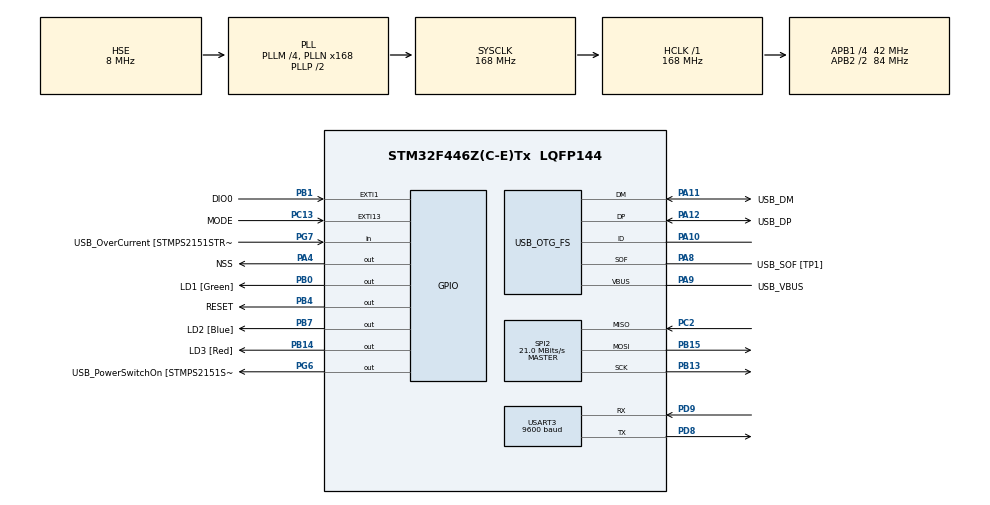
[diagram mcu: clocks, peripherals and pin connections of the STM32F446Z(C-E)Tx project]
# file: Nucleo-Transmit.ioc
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Mcu.Family=STM32F4
Mcu.Name=STM32F446Z(C-E)Tx
Mcu.Package=LQFP144
NVIC.EXTI15_10_IRQn=true\:0\:0\:false\:false\:true\:true\:true\:true
NVIC.EXTI1_IRQn=true\:0\:0\:false\:false\:true\:true\:true\:true
NVIC.PriorityGroup=NVIC_PRIORITYGROUP_4
PA10.Mode=OTG/Dual_Role_Device
PA10.Signal=USB_OTG_FS_ID
PA11.GPIO_Label=USB_DM
PA11.Mode=OTG/Dual_Role_Device
PA11.Signal=USB_OTG_FS_DM
PA12.GPIO_Label=USB_DP
PA12.Mode=OTG/Dual_Role_Device
PA12.Signal=USB_OTG_FS_DP
PA13.GPIO_Label=TMS
PA13.Mode=Serial_Wire
PA13.Signal=SYS_JTMS-SWDIO
PA14.GPIO_Label=TCK
PA14.Mode=Serial_Wire
PA14.Signal=SYS_JTCK-SWCLK
PA4.GPIO_Label=NSS
PA4.PinState=GPIO_PIN_SET
PA4.Signal=GPIO_Output
PA8.GPIO_Label=USB_SOF [TP1]
PA8.Mode=Activate_SOF_FS
PA8.Signal=USB_OTG_FS_SOF
PA9.GPIO_Label=USB_VBUS
PA9.Mode=Activate_VBUS
PA9.Signal=USB_OTG_FS_VBUS
PB0.GPIO_Label=LD1 [Green]
PB0.PinState=GPIO_PIN_RESET
PB0.Signal=GPIO_Output
PB1.GPIO_Label=DIO0
PB1.Signal=GPXTI1
PB13.Mode=Full_Duplex_Master
PB13.Signal=SPI2_SCK
PB14.GPIO_Label=LD3 [Red]
PB14.Signal=GPIO_Output
PB15.Mode=Full_Duplex_Master
PB15.Signal=SPI2_MOSI
PB4.GPIO_Label=RESET
PB4.PinState=GPIO_PIN_SET
PB4.Signal=GPIO_Output
PB7.GPIO_Label=LD2 [Blue]
PB7.Signal=GPIO_Output
PC13.GPIO_Label=MODE
PC13.Signal=GPXTI13
PC14-OSC32_IN.Signal=RCC_OSC32_IN
PC15-OSC32_OUT.Signal=RCC_OSC32_OUT
PC2.Mode=Full_Duplex_Master
PC2.Signal=SPI2_MISO
PD8.Mode=Asynchronous
PD8.Signal=USART3_TX
PD9.Mode=Asynchronous
PD9.Signal=USART3_RX
PG6.GPIO_Label=USB_PowerSwitchOn [STMPS2151STR_EN]
PG6.Signal=GPIO_Output
PG7.GPIO_Label=USB_OverCurrent [STMPS2151STR_FAULT]
PG7.Signal=GPIO_Input
PH0-OSC_IN.GPIO_Label=MCO [STM32F103CBT6_PA8]
PH0-OSC_IN.Mode=HSE-External-Oscillator
PH0-OSC_IN.Signal=RCC_OSC_IN
PH1-OSC_OUT.Mode=HSE-External-Oscillator
PH1-OSC_OUT.Signal=RCC_OSC_OUT
ProjectManager.HeapSize=0x200
ProjectManager.StackSize=0x400
ProjectManager.TargetToolchain=STM32CubeIDE
RCC.48MHZClocksFreq_Value=24000000
RCC.AHBFreq_Value=168000000
RCC.APB1CLKDivider=RCC_HCLK_DIV4
RCC.APB1Freq_Value=42000000
RCC.APB1TimFreq_Value=84000000
RCC.APB2CLKDivider=RCC_HCLK_DIV2
RCC.APB2Freq_Value=84000000
RCC.APB2TimFreq_Value=168000000
RCC.CortexFreq_Value=168000000
RCC.HCLKFreq_Value=168000000
RCC.HSE_VALUE=8000000
RCC.HSI_VALUE=16000000
RCC.PLLM=4
RCC.PLLMUL=RCC_PLL_MUL9
RCC.PLLN=168
RCC.PLLQ=7
RCC.PRESCALERUSB=RCC_USBCLKSOURCE_PLL_DIV1_5
RCC.SYSCLKFreq_VALUE=168000000
RCC.SYSCLKSource=RCC_SYSCLKSOURCE_PLLCLK
RCC.SYSCLKSourceVirtual=RCC_SYSCLKSOURCE_PLLCLK
RCC.USBFreq_Value=48000000
RCC.VCOOutputFreq_Value=336000000
SPI2.BaudRatePrescaler=SPI_BAUDRATEPRESCALER_2
SPI2.CalculateBaudRate=21.0 MBits/s
SPI2.Direction=SPI_DIRECTION_2LINES
SPI2.Mode=SPI_MODE_MASTER
SPI2.VirtualType=VM_MASTER
USART3.BaudRate=9600
USART3.VirtualMode=VM_ASYNC
VP_RTC_VS_RTC_Activate.Mode=RTC_Enabled
board=NUCLEO-F446ZE

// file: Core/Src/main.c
/* USER CODE BEGIN Header */
	/**
	  ******************************************************************************
	  * @file           : main.c
	  * @brief          : Main program body
	  ******************************************************************************
	  * @attention
	  *
	  * Copyright (c) 2025 STMicroelectronics.
	  * All rights reserved.
	  *
	  * This software is licensed under terms that can be found in the LICENSE file
	  * in the root directory of this software component.
	  * If no LICENSE file comes with this software, it is provided AS-IS.
	  *
	  ******************************************************************************
	  */
/* USER CODE END Header */
#include "main.h"
#include "rtc.h"
#include "spi.h"
#include "usart.h"
#include "usb_otg.h"
#include "gpio.h"

/* USER CODE BEGIN Includes */
#include <stdlib.h>
#include <stdio.h>
#include "SX1278.h"
#include <string.h>
/* USER CODE END Includes */

/* USER CODE BEGIN PTD */
//	#define BKP_COUNTER_REGISTER RTC_BKP_DR0
/* USER CODE END PTD */

/* USER CODE BEGIN PV */
	int message;

/* USER CODE END PV */

void SystemClock_Config(void);
/* USER CODE BEGIN PFP */

	int _write(int file, char *ptr, int len) {
		for (int idx = 0; idx < len; idx++) {
				while(!(USART3 -> SR & USART_SR_TXE));
				USART3->DR = (uint8_t)ptr[idx];
		}
		return len;
	}

	RTC_TimeTypeDef sTime;
	RTC_DateTypeDef sDate;

	void get_timestamp_string(char *timestamp_str, uint32_t max_len)
	{
	  // Get current time and date from RTC
	  HAL_RTC_GetTime(&hrtc, &sTime, RTC_FORMAT_BIN);
	  HAL_RTC_GetDate(&hrtc, &sDate, RTC_FORMAT_BIN); // This is necessary after HAL_RTC_GetTime

	  // Format the timestamp string as "YYYY-MM-DD HH:MM:SS"
	  snprintf(timestamp_str, max_len, "%02d:%02d:%02d",
			   sTime.Hours, sTime.Minutes, sTime.Seconds);
	}
/* USER CODE END PFP */

/* USER CODE BEGIN 0 */
	SX1278_hw_t SX1278_hw;
	SX1278_t SX1278;

	int master;
	int ret;

	char buffer[512];
	int message_length;
/* USER CODE END 0 */

int main(void)
{

  /* MCU Configuration--------------------------------------------------------*/

  /* Reset of all peripherals, Initializes the Flash interface and the Systick. */
  HAL_Init();

  /* Configure the system clock */
  SystemClock_Config();

  /* Initialize all configured peripherals */
  MX_GPIO_Init();
  MX_USART3_UART_Init();
  MX_USB_OTG_FS_USB_Init();
  MX_SPI2_Init();
  MX_RTC_Init();
  /* USER CODE BEGIN 2 */

		//initialize LoRa module
		SX1278_hw.dio0.port = DIO0_GPIO_Port;
		SX1278_hw.dio0.pin = DIO0_Pin;
		SX1278_hw.nss.port = NSS_GPIO_Port;
		SX1278_hw.nss.pin = NSS_Pin;
		SX1278_hw.reset.port = RESET_GPIO_Port;
		SX1278_hw.reset.pin = RESET_Pin;
		SX1278_hw.spi = &hspi2;

		SX1278.hw = &SX1278_hw;

		printf("Configuring LoRa module\r\n");
		SX1278_hw_Reset(SX1278.hw);
		HAL_Delay(10);
		SX1278_init(&SX1278, 433000000, SX1278_POWER_17DBM, SX1278_LORA_SF_9,
		SX1278_LORA_BW_125KHZ, SX1278_LORA_CR_4_5, SX1278_LORA_CRC_EN, 250);
		printf("Done configuring LoRaModule\r\n");

  /* USER CODE END 2 */

  /* Infinite loop */
	  while (1)
	  {

    /* USER CODE BEGIN 3 */
					char timestamp[24]; // Buffer for timestamp string
					  SX1278_read(&SX1278, (uint8_t*) buffer, ret);
					  printf("%s\r\n", buffer);
					  HAL_Delay(1000);

					message_length = sprintf(buffer, "Hello from Transmitter %d"
							, message);
					get_timestamp_string(timestamp, sizeof(timestamp));
					printf("%-8s \r\n", timestamp);
					printf("Sending %s\r\n", buffer);
					ret = SX1278_LoRaEntryTx(&SX1278, message_length, 2000);
					printf("Entry: %d\r\n", ret);
					ret = SX1278_LoRaTxPacket(&SX1278, (uint8_t*) buffer,
							message_length, 2000);
					message += 1;
					printf("Transmission: %d\r\n", ret);

					HAL_Delay(500);
			}
  /* USER CODE END 3 */
}

void SystemClock_Config(void)
{
  RCC_OscInitTypeDef RCC_OscInitStruct = {0};
  RCC_ClkInitTypeDef RCC_ClkInitStruct = {0};

  /** Configure the main internal regulator output voltage
  */
  __HAL_RCC_PWR_CLK_ENABLE();
  __HAL_PWR_VOLTAGESCALING_CONFIG(PWR_REGULATOR_VOLTAGE_SCALE1);

  /** Initializes the RCC Oscillators according to the specified parameters
  * in the RCC_OscInitTypeDef structure.
  */
  RCC_OscInitStruct.OscillatorType = RCC_OSCILLATORTYPE_LSI|RCC_OSCILLATORTYPE_HSE;
  RCC_OscInitStruct.HSEState = RCC_HSE_ON;
  RCC_OscInitStruct.LSEState = RCC_LSE_OFF;
  RCC_OscInitStruct.LSIState = RCC_LSI_ON;
  RCC_OscInitStruct.PLL.PLLState = RCC_PLL_ON;
  RCC_OscInitStruct.PLL.PLLSource = RCC_PLLSOURCE_HSE;
  RCC_OscInitStruct.PLL.PLLM = 4;
  RCC_OscInitStruct.PLL.PLLN = 168;
  RCC_OscInitStruct.PLL.PLLP = RCC_PLLP_DIV2;
  RCC_OscInitStruct.PLL.PLLQ = 7;
  RCC_OscInitStruct.PLL.PLLR = 2;
  if (HAL_RCC_OscConfig(&RCC_OscInitStruct) != HAL_OK)
  {
    Error_Handler();
  }

  /** Initializes the CPU, AHB and APB buses clocks
  */
  RCC_ClkInitStruct.ClockType = RCC_CLOCKTYPE_HCLK|RCC_CLOCKTYPE_SYSCLK
                              |RCC_CLOCKTYPE_PCLK1|RCC_CLOCKTYPE_PCLK2;
  RCC_ClkInitStruct.SYSCLKSource = RCC_SYSCLKSOURCE_PLLCLK;
  RCC_ClkInitStruct.AHBCLKDivider = RCC_SYSCLK_DIV1;
  RCC_ClkInitStruct.APB1CLKDivider = RCC_HCLK_DIV4;
  RCC_ClkInitStruct.APB2CLKDivider = RCC_HCLK_DIV2;

  if (HAL_RCC_ClockConfig(&RCC_ClkInitStruct, FLASH_LATENCY_5) != HAL_OK)
  {
    Error_Handler();
  }
}

void Error_Handler(void)
{
	  __disable_irq();
	  while (1)
	  {
	  }
}
